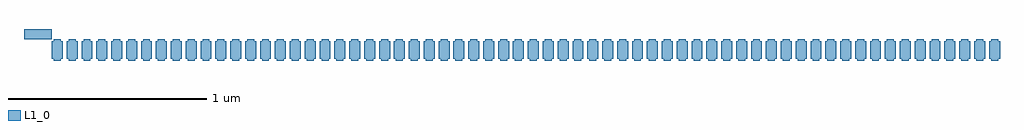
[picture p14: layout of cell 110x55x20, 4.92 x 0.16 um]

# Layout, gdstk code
import gdstk
lib = gdstk.Library(unit=1e-6, precision=1e-09)
def R(c, l, rs):  # rectangles x0, y0, x1, y1
    for r in rs: c.add(gdstk.rectangle(r[:2], r[2:], *l))
def P(c, l, *ps):  # polygons
    for p in ps: c.add(gdstk.Polygon(p, *l))
L1_0 = (1, 0)

c_110x55single = lib.new_cell('110x55single')
P(c_110x55single, L1_0, [(0,0),(0.01,0),(0.01,-0.01),(0.045,-0.01),(0.045,0),(0.055,0),(0.055,0.09),(0.045,0.09),(0.045,0.1),(0.01,0.1),(0.01,0.09),(0,0.09)])

c_110x55x20 = lib.new_cell('110x55x20')
R(c_110x55x20, L1_0, [(-0.14,0.11,0,0.16)])
r = gdstk.Reference(c_110x55single, (0,0.01)); r.repetition = gdstk.Repetition(64, 1, v1=(0.075,0), v2=(0,0)); c_110x55x20.add(r)

lib.write_gds('110x55x20.gds')
